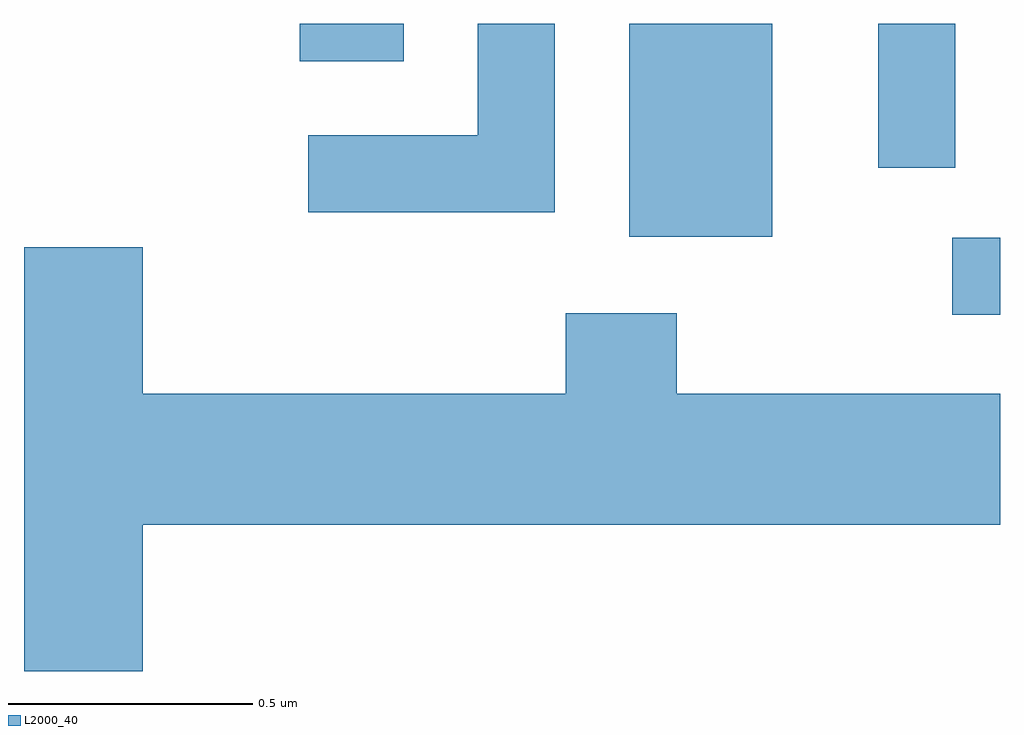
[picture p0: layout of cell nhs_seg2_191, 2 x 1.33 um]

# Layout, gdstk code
import gdstk
lib = gdstk.Library(unit=1e-6, precision=1e-09)
def R(c, l, rs):  # rectangles x0, y0, x1, y1
    for r in rs: c.add(gdstk.rectangle(r[:2], r[2:], *l))
def P(c, l, *ps):  # polygons
    for p in ps: c.add(gdstk.Polygon(p, *l))
L2000_40 = (2000, 40)

nhs_seg2_191 = lib.new_cell('nhs_seg2_191')
R(nhs_seg2_191, L2000_40, [(188.513,1033.206,188.611,1033.364), (187.851,1033.366,188.144,1033.802), (188.361,1033.507,188.519,1033.802), (187.176,1033.726,187.389,1033.802)])
P(nhs_seg2_191, L2000_40, [(187.699,1033.802),(187.541,1033.802),(187.541,1033.574),(187.193,1033.574),(187.193,1033.416),(187.699,1033.416)],
  [(186.854,1032.776),(188.611,1032.776),(188.611,1033.044),(187.949,1033.044),(187.949,1033.209),(187.721,1033.209),(187.721,1033.044),(186.854,1033.044),(186.854,1033.344),(186.611,1033.344),(186.611,1032.476),(186.854,1032.476)])

lib.write_gds('nhs_seg2_191.gds')
